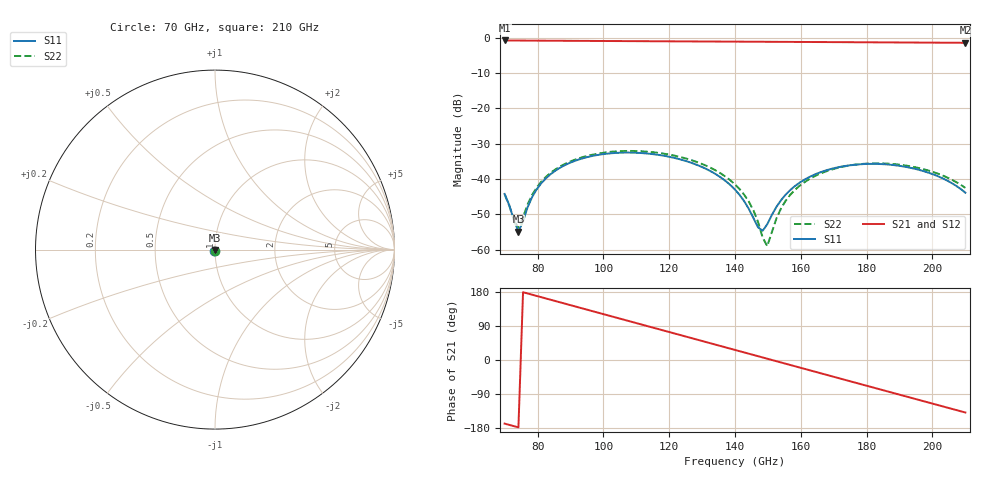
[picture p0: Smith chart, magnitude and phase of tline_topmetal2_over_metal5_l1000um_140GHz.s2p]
#  GHZ S DB R 50
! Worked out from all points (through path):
!   101 points, 70 GHz to 210 GHz, reference 50 ohm
!   highest |S21| = -0.81 dB at 70 GHz (marker M1); lowest = -1.5 dB at 210 GHz (marker M2)
!   group delay of S21, straight-line fit = 6.56 ps
!   lowest |S11| = -54.9 dB at 74.2 GHz (marker M3), VSWR 1.00, Z = 50.1 - j0.15 ohm
!   |S11| at or under -10 dB: start of sweep to end of sweep
!   |S22| runs from -59.0 to -32.0 dB; largest |S21 - S12| = 1e-13
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70  -44.21 -117.8  -0.81 -167.9  -0.81 -167.9  -44.32 -116.2
74.2  -54.88 -56.3  -0.84 -177.8  -0.84 -177.8  -53.86 -50.0
78.4  -45.01 7.2  -0.86 172.2  -0.86 172.2  -44.41 5.3
81.2  -41.12 7.6  -0.87 165.6  -0.87 165.6  -40.68 5.8
86.8  -36.82 -0.5  -0.90 152.3  -0.90 152.3  -36.47 -2.3
93.8  -34.12 -14.4  -0.93 135.8  -0.93 135.8  -33.77 -16.2
106.4  -32.52 -41.4  -1.00 106.0  -1.00 106.0  -32.07 -43.6
117.6  -33.29 -65.3  -1.05 79.5  -1.05 79.5  -32.71 -68.1
130.2  -36.68 -90.9  -1.10 49.7  -1.10 49.7  -35.81 -95.4
140  -42.98 -105.5  -1.15 26.6  -1.15 26.6  -41.51 -114.6
144.2  -48.43 -101.2  -1.16 16.6  -1.16 16.6  -46.38 -118.7
147  -53.65 -74.1  -1.18 10.0  -1.18 10.0  -52.12 -112.2
148.4  -54.61 -43.5  -1.18 6.7  -1.18 6.7  -56.53 -94.2
149.8  -52.78 -17.0  -1.19 3.4  -1.19 3.4  -58.97 -45.0
152.6  -47.85 2.8  -1.20 -3.2  -1.20 -3.2  -51.10 4.5
155.4  -44.40 5.5  -1.22 -9.8  -1.22 -9.8  -46.13 8.2
159.6  -41.04 1.4  -1.23 -19.8  -1.23 -19.8  -41.92 3.2
163.8  -38.89 -5.8  -1.25 -29.7  -1.25 -29.7  -39.39 -4.9
176.4  -35.94 -32.5  -1.32 -59.4  -1.32 -59.4  -35.95 -32.9
187.6  -35.98 -57.8  -1.37 -85.9  -1.37 -85.9  -35.72 -59.0
200.2  -38.67 -85.8  -1.43 -115.5  -1.43 -115.5  -38.01 -88.3
210  -43.86 -105.3  -1.48 -138.6  -1.48 -138.6  -42.51 -110.2
